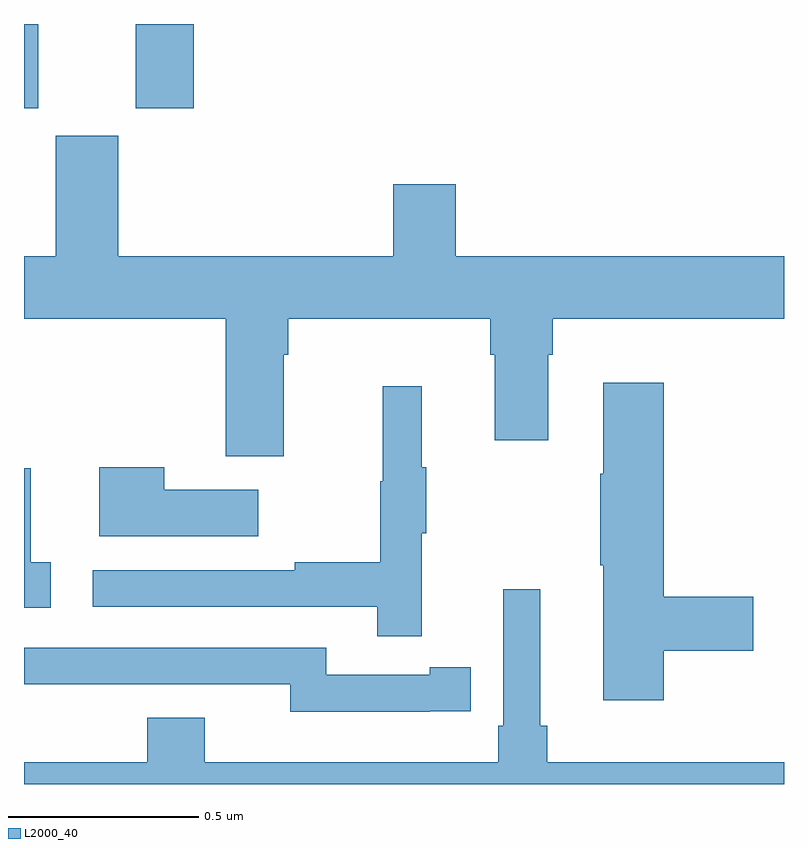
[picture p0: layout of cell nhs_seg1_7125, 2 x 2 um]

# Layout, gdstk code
import gdstk
lib = gdstk.Library(unit=1e-6, precision=1e-09)
def R(c, l, rs):  # rectangles x0, y0, x1, y1
    for r in rs: c.add(gdstk.rectangle(r[:2], r[2:], *l))
def P(c, l, *ps):  # polygons
    for p in ps: c.add(gdstk.Polygon(p, *l))
L2000_40 = (2000, 40)

nhs_seg1_7125 = lib.new_cell('nhs_seg1_7125')
R(nhs_seg1_7125, L2000_40, [(200,526.977,200.038,527.199), (200.294,526.977,200.447,527.199)])
P(nhs_seg1_7125, L2000_40, [(200.683,526.328),(200.696,526.328),(200.696,526.424),(201.227,526.424),(201.227,526.328),(201.239,526.328),(201.239,526.104),(201.379,526.104),(201.379,526.328),(201.392,526.328),(201.392,526.424),(202,526.424),(202,526.588),(201.136,526.588),(201.136,526.777),(200.972,526.777),(200.972,526.588),(200.248,526.588),(200.248,526.905),(200.084,526.905),(200.084,526.588),(200,526.588),(200,526.424),(200.531,526.424),(200.531,526.062),(200.683,526.062)],
  [(201.683,525.55),(201.919,525.55),(201.919,525.692),(201.683,525.692),(201.683,526.255),(201.524,526.255),(201.524,526.016),(201.517,526.016),(201.517,525.775),(201.524,525.775),(201.524,525.42),(201.683,525.42)],
  [(201.047,525.859),(201.058,525.859),(201.058,526.033),(201.047,526.033),(201.047,526.246),(200.944,526.246),(200.944,525.996),(200.937,525.996),(200.937,525.782),(200.713,525.782),(200.713,525.762),(200.181,525.762),(200.181,525.666),(200.929,525.666),(200.929,525.588),(201.047,525.588)],
  [(200.617,525.973),(200.369,525.973),(200.369,526.033),(200.198,526.033),(200.198,525.851),(200.617,525.851)],
  [(200.071,525.783),(200.018,525.783),(200.018,526.03),(200,526.03),(200,525.663),(200.071,525.663)],
  [(201.068,525.39),(201.176,525.39),(201.176,525.506),(201.068,525.506),(201.068,525.486),(200.796,525.486),(200.796,525.558),(200,525.558),(200,525.461),(200.24,525.461),(200.24,525.462),(200.7,525.462),(200.7,525.389),(201.068,525.389)],
  [(201.377,525.352),(201.358,525.352),(201.358,525.712),(201.261,525.712),(201.261,525.352),(201.248,525.352),(201.248,525.256),(200.476,525.256),(200.476,525.373),(200.324,525.373),(200.324,525.256),(200,525.256),(200,525.199),(202,525.199),(202,525.256),(201.377,525.256)])

lib.write_gds('nhs_seg1_7125.gds')
